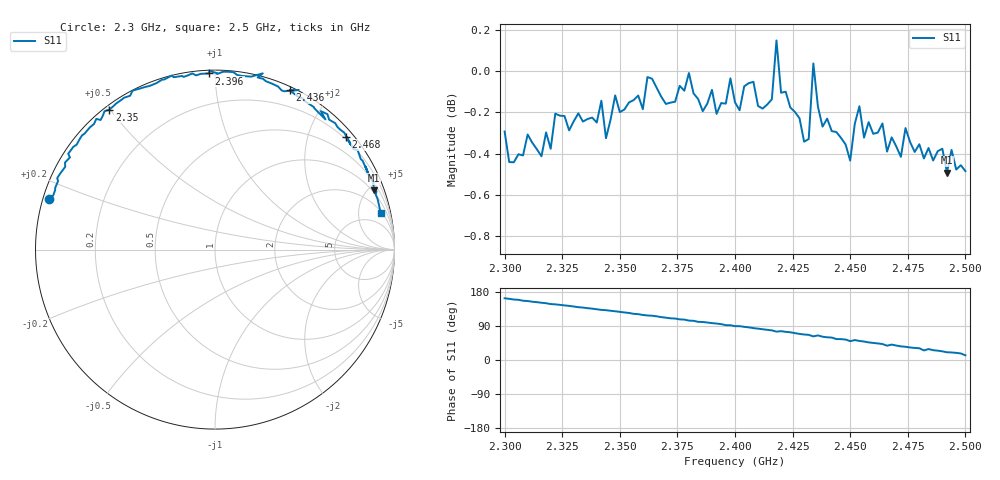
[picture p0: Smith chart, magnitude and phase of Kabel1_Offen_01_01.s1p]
# HZ S RI R 50
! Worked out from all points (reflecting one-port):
!   101 points, 2.3 GHz to 2.5 GHz, reference 50 ohm
!   lowest |S11| = -0.5 dB at 2.492 GHz (marker M1), VSWR 35.28, Z = 44 + j271 ohm
!   phase of S11 starts at 163 deg and turns -150 deg over the sweep
!   S11 on the Smith chart (normalised r, x): 2.3 GHz: 0.02, +0.15; 2.35 GHz: 0.01, +0.50; 2.396 GHz: 0.02, +0.97; 2.436 GHz: 0.03, +1.57; 2.468 GHz: 0.15, +2.69; 2.5 GHz: 2.24, +8.62
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2.3e9  -0.9241 0.2841
2.326e9  -0.7899 0.572
2.35e9  -0.5887 0.7802
2.362e9  -0.4604 0.8841
2.376e9  -0.2939 0.9473
2.396e9  -0.0325 0.9815
2.4e9  0.012 0.9827
2.416e9  0.2016 0.9636
2.418e9  0.2663 0.9819
2.42e9  0.2377 0.959
2.426e9  0.3194 0.9238
2.432e9  0.3858 0.8821
2.434e9  0.467 0.8892
2.436e9  0.416 0.8877
2.444e9  0.5511 0.794
2.448e9  0.5639 0.7767
2.45e9  0.6154 0.7253
2.452e9  0.5896 0.7716
2.464e9  0.72 0.6518
2.466e9  0.7558 0.5855
2.468e9  0.7309 0.628
2.476e9  0.8054 0.5245
2.48e9  0.8226 0.4949
2.482e9  0.8616 0.4058
2.484e9  0.8388 0.4628
2.492e9  0.8854 0.3298
2.498e9  0.9059 0.282
2.5e9  0.9235 0.2034
